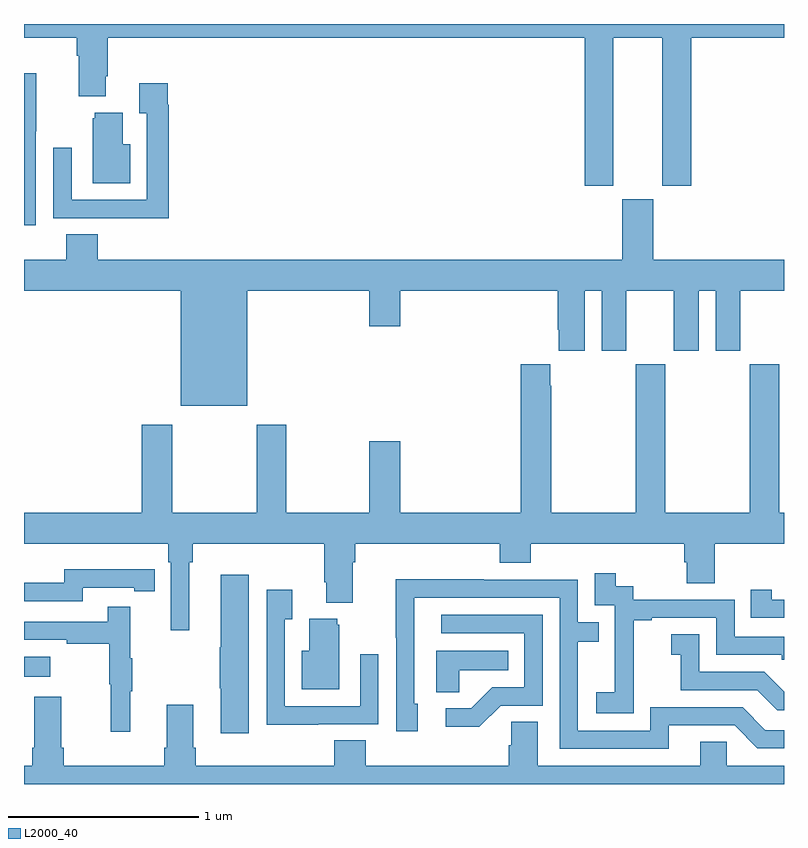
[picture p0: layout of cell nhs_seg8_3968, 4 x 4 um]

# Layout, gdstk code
import gdstk
lib = gdstk.Library(unit=1e-6, precision=1e-09)
def R(c, l, rs):  # rectangles x0, y0, x1, y1
    for r in rs: c.add(gdstk.rectangle(r[:2], r[2:], *l))
def P(c, l, *ps):  # polygons
    for p in ps: c.add(gdstk.Polygon(p, *l))
L2000_40 = (2000, 40)

nhs_seg8_3968 = lib.new_cell('nhs_seg8_3968')
R(nhs_seg8_3968, L2000_40, [(355,1118.465,355.138,1118.569)])
P(nhs_seg8_3968, L2000_40, [(358.102,1121.828),(358.358,1121.828),(358.358,1121.049),(358.511,1121.049),(358.511,1121.828),(359,1121.828),(359,1121.9),(355,1121.9),(355,1121.828),(355.277,1121.828),(355.277,1121.732),(355.289,1121.732),(355.289,1121.519),(355.429,1121.519),(355.429,1121.626),(355.442,1121.626),(355.442,1121.828),(357.95,1121.828),(357.95,1121.049),(358.102,1121.049)],
  [(355.062,1121.335),(355.065,1121.335),(355.065,1121.642),(355,1121.642),(355,1120.842),(355.062,1120.842)],
  [(355.763,1121.474),(355.756,1121.474),(355.756,1121.587),(355.607,1121.587),(355.607,1121.431),(355.647,1121.431),(355.647,1120.974),(355.251,1120.974),(355.251,1121.248),(355.155,1121.248),(355.155,1120.878),(355.471,1120.878),(355.471,1120.877),(355.763,1120.877)],
  [(355.558,1121.266),(355.519,1121.266),(355.519,1121.434),(355.373,1121.434),(355.373,1121.403),(355.361,1121.403),(355.361,1121.063),(355.558,1121.063)],
  [(356.176,1120.496),(356.816,1120.496),(356.816,1120.308),(356.98,1120.308),(356.98,1120.496),(357.809,1120.496),(357.809,1120.291),(357.815,1120.291),(357.815,1120.179),(357.952,1120.179),(357.952,1120.496),(358.04,1120.496),(358.04,1120.179),(358.171,1120.179),(358.171,1120.496),(358.421,1120.496),(358.421,1120.179),(358.552,1120.179),(358.552,1120.496),(358.64,1120.496),(358.64,1120.179),(358.771,1120.179),(358.771,1120.496),(359,1120.496),(359,1120.66),(358.312,1120.66),(358.312,1120.977),(358.148,1120.977),(358.148,1120.66),(355.388,1120.66),(355.388,1120.793),(355.223,1120.793),(355.223,1120.66),(355,1120.66),(355,1120.496),(355.826,1120.496),(355.826,1119.89),(356.176,1119.89)],
  [(355.87,1119.068),(355.889,1119.068),(355.889,1119.164),(356.579,1119.164),(356.579,1118.962),(356.591,1118.962),(356.591,1118.855),(356.731,1118.855),(356.731,1119.068),(356.744,1119.068),(356.744,1119.164),(357.503,1119.164),(357.503,1119.065),(357.668,1119.065),(357.668,1119.164),(358.475,1119.164),(358.475,1119.066),(358.487,1119.066),(358.487,1118.956),(358.635,1118.956),(358.635,1119.164),(359,1119.164),(359,1119.328),(358.974,1119.328),(358.974,1120.108),(358.819,1120.108),(358.819,1119.328),(358.374,1119.328),(358.374,1120.108),(358.219,1120.108),(358.219,1119.328),(357.774,1119.328),(357.774,1119.995),(357.769,1119.995),(357.769,1120.108),(357.614,1120.108),(357.614,1119.328),(356.98,1119.328),(356.98,1119.703),(356.816,1119.703),(356.816,1119.328),(356.379,1119.328),(356.379,1119.79),(356.224,1119.79),(356.224,1119.328),(355.779,1119.328),(355.779,1119.79),(355.619,1119.79),(355.619,1119.328),(355,1119.328),(355,1119.164),(355.76,1119.164),(355.76,1119.068),(355.773,1119.068),(355.773,1118.709),(355.87,1118.709)],
  [(355.308,1118.934),(355.58,1118.934),(355.58,1118.914),(355.688,1118.914),(355.688,1119.03),(355.58,1119.03),(355.58,1119.031),(355.212,1119.031),(355.212,1118.958),(355,1118.958),(355,1118.862),(355.308,1118.862)],
  [(358.209,1118.479),(358.208,1118.479),(358.208,1118.763),(358.303,1118.763),(358.303,1118.775),(358.644,1118.775),(358.644,1118.58),(358.989,1118.58),(358.989,1118.553),(359,1118.553),(359,1118.676),(358.74,1118.676),(358.74,1118.871),(358.206,1118.871),(358.206,1118.94),(358.114,1118.94),(358.114,1119.01),(358.005,1119.01),(358.005,1118.841),(358.11,1118.841),(358.11,1118.612),(358.109,1118.612),(358.109,1118.383),(358.011,1118.383),(358.011,1118.273),(358.209,1118.273)],
  [(356.182,1119.001),(356.036,1119.001),(356.036,1118.621),(356.029,1118.621),(356.029,1118.404),(356.036,1118.404),(356.036,1118.166),(356.182,1118.166)],
  [(358.393,1118.208),(358.74,1118.208),(358.86,1118.088),(359,1118.088),(359,1118.184),(358.902,1118.184),(358.782,1118.304),(358.296,1118.304),(358.296,1118.181),(357.915,1118.181),(357.915,1118.65),(358.025,1118.65),(358.025,1118.751),(357.915,1118.751),(357.915,1118.976),(357.419,1118.976),(357.419,1118.978),(356.956,1118.978),(356.956,1118.671),(356.958,1118.671),(356.958,1118.178),(357.073,1118.178),(357.073,1118.322),(357.054,1118.322),(357.054,1118.88),(357.819,1118.88),(357.819,1118.085),(358.393,1118.085)],
  [(356.549,1118.214),(356.865,1118.214),(356.865,1118.584),(356.769,1118.584),(356.769,1118.31),(356.373,1118.31),(356.373,1118.767),(356.413,1118.767),(356.413,1118.923),(356.277,1118.923),(356.277,1118.213),(356.549,1118.213)],
  [(359,1118.871),(358.936,1118.871),(358.936,1118.923),(358.825,1118.923),(358.825,1118.775),(359,1118.775)],
  [(355.559,1118.387),(355.57,1118.387),(355.57,1118.561),(355.559,1118.561),(355.559,1118.833),(355.441,1118.833),(355.441,1118.754),(355,1118.754),(355,1118.658),(355.225,1118.658),(355.225,1118.638),(355.449,1118.638),(355.449,1118.424),(355.456,1118.424),(355.456,1118.175),(355.559,1118.175)],
  [(357.51,1118.313),(357.729,1118.313),(357.729,1118.79),(357.195,1118.79),(357.195,1118.694),(357.633,1118.694),(357.633,1118.409),(357.464,1118.409),(357.353,1118.298),(357.219,1118.298),(357.219,1118.201),(357.397,1118.201)],
  [(356.659,1118.739),(356.648,1118.739),(356.648,1118.77),(356.501,1118.77),(356.501,1118.602),(356.462,1118.602),(356.462,1118.399),(356.659,1118.399)],
  [(359,1118.386),(358.896,1118.49),(358.554,1118.49),(358.554,1118.689),(358.407,1118.689),(358.407,1118.579),(358.456,1118.579),(358.456,1118.394),(358.859,1118.394),(358.964,1118.289),(359,1118.289)],
  [(357.291,1118.498),(357.548,1118.498),(357.548,1118.602),(357.17,1118.602),(357.17,1118.383),(357.291,1118.383)],
  [(359,1117.996),(358.698,1117.996),(358.698,1118.123),(358.559,1118.123),(358.559,1117.996),(357.703,1117.996),(357.703,1118.228),(357.564,1118.228),(357.564,1118.105),(357.551,1118.105),(357.551,1117.996),(356.798,1117.996),(356.798,1118.129),(356.633,1118.129),(356.633,1117.996),(355.904,1117.996),(355.904,1118.092),(355.891,1118.092),(355.891,1118.317),(355.751,1118.317),(355.751,1118.092),(355.739,1118.092),(355.739,1117.996),(355.208,1117.996),(355.208,1118.092),(355.195,1118.092),(355.195,1118.359),(355.055,1118.359),(355.055,1118.092),(355.043,1118.092),(355.043,1117.996),(355,1117.996),(355,1117.9),(359,1117.9)])

lib.write_gds('nhs_seg8_3968.gds')
